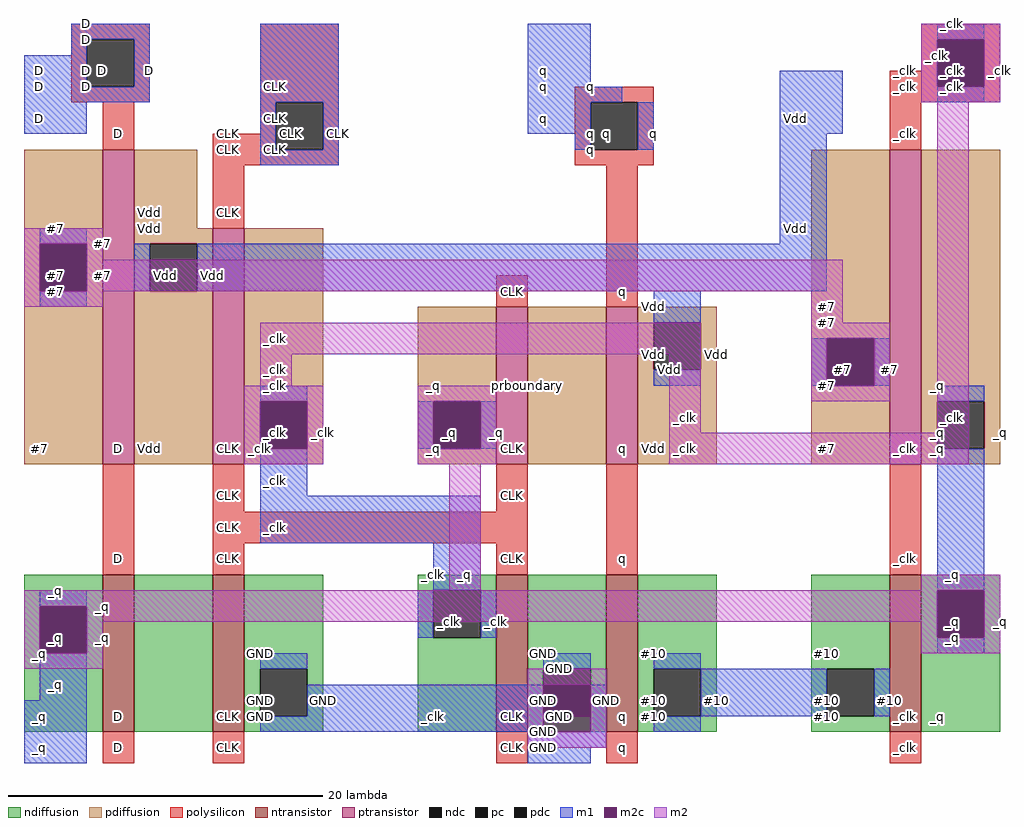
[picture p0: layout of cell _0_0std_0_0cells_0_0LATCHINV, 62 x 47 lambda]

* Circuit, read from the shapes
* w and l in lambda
.subckt _0_0std_0_0cells_0_0LATCHINV _q q CLK D
M1 n1 D _q VSUBS nfet w=10 l=2
M2 GND CLK n1 VSUBS nfet w=10 l=2
M3 GND CLK _clk VSUBS nfet w=10 l=2
M4 #10 q GND VSUBS nfet w=10 l=2
M5 _q _clk #10 VSUBS nfet w=10 l=2
M6 Vdd D #7 NWELL pfet w=20 l=2
M7 _clk CLK Vdd NWELL pfet w=15 l=2
M8 n2 CLK _q NWELL pfet w=10 l=2
M9 Vdd q n2 NWELL pfet w=10 l=2
M10 _q _clk #7 NWELL pfet w=20 l=2
.ends

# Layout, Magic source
magic
tech sky130l
<< ndiffusion >>
rect 8 14 13 16
rect 8 11 9 14
rect 12 11 13 14
rect 8 6 13 11
rect 15 6 20 16
rect 22 10 27 16
rect 22 7 23 10
rect 26 7 27 10
rect 22 6 27 7
rect 33 15 38 16
rect 33 12 34 15
rect 37 12 38 15
rect 33 6 38 12
rect 40 10 45 16
rect 40 7 41 10
rect 44 7 45 10
rect 40 6 45 7
rect 47 10 52 16
rect 47 7 48 10
rect 51 7 52 10
rect 47 6 52 7
rect 58 10 63 16
rect 58 7 59 10
rect 62 7 63 10
rect 58 6 63 7
rect 65 15 70 16
rect 65 12 66 15
rect 69 12 70 15
rect 65 6 70 12
<< ndc >>
rect 9 11 12 14
rect 23 7 26 10
rect 34 12 37 15
rect 41 7 44 10
rect 48 7 51 10
rect 59 7 62 10
rect 66 12 69 15
<< ntransistor >>
rect 13 6 15 16
rect 20 6 22 16
rect 38 6 40 16
rect 45 6 47 16
rect 63 6 65 16
<< pdiffusion >>
rect 8 37 13 43
rect 8 34 9 37
rect 12 34 13 37
rect 8 23 13 34
rect 15 38 19 43
rect 15 37 20 38
rect 15 34 16 37
rect 19 34 20 37
rect 15 23 20 34
rect 22 27 27 38
rect 22 24 23 27
rect 26 24 27 27
rect 22 23 27 24
rect 33 27 38 33
rect 33 24 34 27
rect 37 24 38 27
rect 33 23 38 24
rect 40 23 45 33
rect 47 32 52 33
rect 47 29 48 32
rect 51 29 52 32
rect 47 23 52 29
rect 58 31 63 43
rect 58 28 59 31
rect 62 28 63 31
rect 58 23 63 28
rect 65 27 70 43
rect 65 24 66 27
rect 69 24 70 27
rect 65 23 70 24
<< pdc >>
rect 9 34 12 37
rect 16 34 19 37
rect 23 24 26 27
rect 34 24 37 27
rect 48 29 51 32
rect 59 28 62 31
rect 66 24 69 27
<< ptransistor >>
rect 13 23 15 43
rect 20 23 22 38
rect 38 23 40 33
rect 45 23 47 33
rect 63 23 65 43
<< polysilicon >>
rect 11 50 16 51
rect 11 47 12 50
rect 15 47 16 50
rect 11 46 16 47
rect 23 46 28 51
rect 65 50 70 51
rect 65 48 66 50
rect 63 47 66 48
rect 69 47 70 50
rect 13 43 15 46
rect 23 44 24 46
rect 20 43 24 44
rect 27 43 28 46
rect 20 42 28 43
rect 43 46 48 47
rect 43 43 44 46
rect 47 43 48 46
rect 63 46 70 47
rect 63 43 65 46
rect 43 42 48 43
rect 20 38 22 42
rect 38 33 40 35
rect 45 33 47 42
rect 13 16 15 23
rect 20 20 22 23
rect 38 20 40 23
rect 20 18 40 20
rect 20 16 22 18
rect 38 16 40 18
rect 45 16 47 23
rect 63 16 65 23
rect 13 4 15 6
rect 20 4 22 6
rect 38 4 40 6
rect 45 4 47 6
rect 63 4 65 6
<< pc >>
rect 12 47 15 50
rect 66 47 69 50
rect 24 43 27 46
rect 44 43 47 46
<< m1 >>
rect 11 50 16 51
rect 11 49 12 50
rect 8 47 12 49
rect 15 47 16 50
rect 8 46 16 47
rect 23 46 28 51
rect 8 44 12 46
rect 23 43 24 46
rect 27 43 28 46
rect 40 47 44 51
rect 66 50 69 51
rect 40 46 46 47
rect 40 44 44 46
rect 43 43 44 44
rect 47 43 48 46
rect 56 44 60 48
rect 66 46 69 47
rect 23 42 28 43
rect 9 37 12 38
rect 56 37 59 44
rect 15 34 16 37
rect 19 34 59 37
rect 9 33 12 34
rect 48 32 51 34
rect 48 28 51 29
rect 58 28 59 31
rect 62 28 63 31
rect 23 27 26 28
rect 66 27 69 28
rect 33 24 34 27
rect 37 24 38 27
rect 23 21 26 24
rect 23 18 37 21
rect 34 15 37 18
rect 66 15 69 24
rect 9 14 12 15
rect 33 12 34 15
rect 37 12 38 15
rect 66 11 69 12
rect 9 8 12 11
rect 8 4 12 8
rect 23 10 26 11
rect 41 10 44 11
rect 48 10 51 11
rect 26 7 41 9
rect 23 6 41 7
rect 44 6 45 9
rect 51 7 59 10
rect 62 7 63 10
rect 48 6 51 7
rect 40 5 45 6
rect 40 4 44 5
<< m2c >>
rect 66 47 69 50
rect 9 34 12 37
rect 59 28 62 31
rect 23 24 26 27
rect 34 24 37 27
rect 9 11 12 14
rect 66 12 69 15
rect 41 7 44 9
rect 41 6 44 7
<< m2 >>
rect 65 50 70 51
rect 65 47 66 50
rect 69 47 70 50
rect 65 46 70 47
rect 8 37 13 38
rect 8 34 9 37
rect 12 36 13 37
rect 12 34 60 36
rect 8 33 13 34
rect 58 32 60 34
rect 23 30 51 32
rect 23 28 25 30
rect 22 27 27 28
rect 22 24 23 27
rect 26 24 27 27
rect 22 23 27 24
rect 33 27 38 28
rect 33 24 34 27
rect 37 24 38 27
rect 33 23 38 24
rect 49 25 51 30
rect 58 31 63 32
rect 58 28 59 31
rect 62 28 63 31
rect 58 27 63 28
rect 66 25 68 46
rect 49 23 68 25
rect 35 15 37 23
rect 65 15 70 16
rect 8 14 66 15
rect 8 11 9 14
rect 12 13 66 14
rect 12 11 13 13
rect 65 12 66 13
rect 69 12 70 15
rect 65 11 70 12
rect 8 10 13 11
rect 40 9 45 10
rect 40 6 41 9
rect 44 6 45 9
rect 40 5 45 6
<< labels >>
rlabel space 0 0 80 56 6 prboundary
rlabel pdiffusion 70 25 70 25 3 _q
rlabel ndiffusion 66 7 66 7 3 _q
rlabel ndiffusion 59 8 59 8 3 #10
rlabel pdiffusion 66 24 66 24 3 _q
rlabel pdiffusion 66 25 66 25 3 _q
rlabel pdiffusion 66 28 66 28 3 _q
rlabel polysilicon 66 49 66 49 3 _clk
rlabel ntransistor 64 7 64 7 3 _clk
rlabel polysilicon 64 17 64 17 3 _clk
rlabel ptransistor 64 24 64 24 3 _clk
rlabel polysilicon 64 44 64 44 3 _clk
rlabel polysilicon 64 47 64 47 3 _clk
rlabel polysilicon 64 48 64 48 3 _clk
rlabel ndiffusion 59 7 59 7 3 #10
rlabel ndiffusion 59 11 59 11 3 #10
rlabel pdiffusion 59 24 59 24 3 #7
rlabel pdiffusion 52 30 52 30 3 Vdd
rlabel ndiffusion 48 7 48 7 3 #10
rlabel ndiffusion 48 8 48 8 3 #10
rlabel ndiffusion 48 11 48 11 3 #10
rlabel ndiffusion 45 8 45 8 3 GND
rlabel pdiffusion 48 24 48 24 3 Vdd
rlabel pdiffusion 48 30 48 30 3 Vdd
rlabel pdiffusion 48 33 48 33 3 Vdd
rlabel polysilicon 46 34 46 34 3 q
rlabel polysilicon 64 5 64 5 3 _clk
rlabel ntransistor 46 7 46 7 3 q
rlabel polysilicon 46 17 46 17 3 q
rlabel ptransistor 46 24 46 24 3 q
rlabel polysilicon 44 43 44 43 3 q
rlabel polysilicon 44 47 44 47 3 q
rlabel ndiffusion 41 8 41 8 3 GND
rlabel ndiffusion 41 11 41 11 3 GND
rlabel polysilicon 46 5 46 5 3 q
rlabel ntransistor 39 7 39 7 3 CLK
rlabel polysilicon 39 17 39 17 3 CLK
rlabel polysilicon 39 21 39 21 3 CLK
rlabel ptransistor 39 24 39 24 3 CLK
rlabel polysilicon 39 34 39 34 3 CLK
rlabel ndiffusion 34 7 34 7 3 _clk
rlabel ndiffusion 34 16 34 16 3 _clk
rlabel polysilicon 24 45 24 45 3 CLK
rlabel polysilicon 39 5 39 5 3 CLK
rlabel ndiffusion 23 7 23 7 3 GND
rlabel ndiffusion 23 8 23 8 3 GND
rlabel ndiffusion 23 11 23 11 3 GND
rlabel polysilicon 21 39 21 39 3 CLK
rlabel polysilicon 21 43 21 43 3 CLK
rlabel polysilicon 21 44 21 44 3 CLK
rlabel polysilicon 21 5 21 5 3 CLK
rlabel ntransistor 21 7 21 7 3 CLK
rlabel polysilicon 21 17 21 17 3 CLK
rlabel polysilicon 21 19 21 19 3 CLK
rlabel polysilicon 21 21 21 21 3 CLK
rlabel ptransistor 21 24 21 24 3 CLK
rlabel pdiffusion 16 24 16 24 3 Vdd
rlabel pdiffusion 16 38 16 38 3 Vdd
rlabel pdiffusion 16 39 16 39 3 Vdd
rlabel polysilicon 14 44 14 44 3 D
rlabel polysilicon 14 5 14 5 3 D
rlabel ntransistor 14 7 14 7 3 D
rlabel polysilicon 14 17 14 17 3 D
rlabel ptransistor 14 24 14 24 3 D
rlabel polysilicon 12 47 12 47 3 D
rlabel polysilicon 12 48 12 48 3 D
rlabel ndiffusion 9 7 9 7 3 _q
rlabel pdiffusion 9 24 9 24 3 #7
rlabel m1 67 47 67 47 3 _clk
rlabel m1 67 51 67 51 3 _clk
rlabel m1 67 16 67 16 3 _q
port 1 e
rlabel pdc 67 25 67 25 3 _q
port 1 e
rlabel m1 67 28 67 28 3 _q
port 1 e
rlabel m1 57 38 57 38 3 Vdd
rlabel m1 57 45 57 45 3 Vdd
rlabel m1 49 29 49 29 3 Vdd
rlabel pdc 49 30 49 30 3 Vdd
rlabel m1 49 33 49 33 3 Vdd
rlabel m1 48 44 48 44 3 q
port 2 e
rlabel pc 45 44 45 44 3 q
port 2 e
rlabel m1 44 44 44 44 3 q
port 2 e
rlabel m1 41 45 41 45 3 q
port 2 e
rlabel m1 41 47 41 47 3 q
port 2 e
rlabel m1 41 48 41 48 3 q
port 2 e
rlabel m1 63 8 63 8 3 #10
rlabel ndc 60 8 60 8 3 #10
rlabel m1 67 12 67 12 3 _q
port 1 e
rlabel m1 38 13 38 13 3 _clk
rlabel m1 28 44 28 44 3 CLK
port 3 e
rlabel m1 52 8 52 8 3 #10
rlabel ndc 35 13 35 13 3 _clk
rlabel m1 35 16 35 16 3 _clk
rlabel pc 25 44 25 44 3 CLK
port 3 e
rlabel m1 49 7 49 7 3 #10
rlabel ndc 49 8 49 8 3 #10
rlabel m1 49 11 49 11 3 #10
rlabel m1 34 13 34 13 3 _clk
rlabel m1 24 43 24 43 3 CLK
port 3 e
rlabel m1 24 44 24 44 3 CLK
port 3 e
rlabel m1 24 47 24 47 3 CLK
port 3 e
rlabel m1 24 19 24 19 3 _clk
rlabel m1 24 22 24 22 3 _clk
rlabel m1 24 28 24 28 3 _clk
rlabel m1 20 35 20 35 3 Vdd
rlabel ndc 42 10 42 10 3 GND
rlabel m1 42 11 42 11 3 GND
rlabel pdc 17 35 17 35 3 Vdd
rlabel m1 41 5 41 5 3 GND
rlabel m1 27 8 27 8 3 GND
rlabel m1 24 11 24 11 3 GND
rlabel m1 16 35 16 35 3 Vdd
rlabel m1 24 7 24 7 3 GND
rlabel ndc 24 8 24 8 3 GND
rlabel m1 16 48 16 48 3 D
port 4 e
rlabel m1 12 50 12 50 3 D
port 4 e
rlabel m1 12 51 12 51 3 D
port 4 e
rlabel m1 10 9 10 9 3 _q
port 1 e
rlabel m1 10 15 10 15 3 _q
port 1 e
rlabel m1 10 34 10 34 3 #7
rlabel m1 10 38 10 38 3 #7
rlabel pc 13 48 13 48 3 D
port 4 e
rlabel m1 9 5 9 5 3 _q
port 1 e
rlabel m1 9 45 9 45 3 D
port 4 e
rlabel m1 9 47 9 47 3 D
port 4 e
rlabel m1 9 48 9 48 3 D
port 4 e
rlabel m2 67 26 67 26 3 _clk
rlabel m2 63 29 63 29 3 #7
rlabel m2c 60 29 60 29 3 #7
rlabel m2 59 28 59 28 3 #7
rlabel m2 59 29 59 29 3 #7
rlabel m2 66 16 66 16 3 _q
port 1 e
rlabel m2 50 26 50 26 3 _clk
rlabel m2 70 13 70 13 3 _q
port 1 e
rlabel m2 50 24 50 24 3 _clk
rlabel m2 38 25 38 25 3 _q
port 1 e
rlabel m2c 67 13 67 13 3 _q
port 1 e
rlabel m2c 35 25 35 25 3 _q
port 1 e
rlabel m2 66 12 66 12 3 _q
port 1 e
rlabel m2 66 13 66 13 3 _q
port 1 e
rlabel m2 34 25 34 25 3 _q
port 1 e
rlabel m2 45 7 45 7 3 GND
rlabel m2 59 32 59 32 3 #7
rlabel m2 59 33 59 33 3 #7
rlabel m2c 42 7 42 7 3 GND
rlabel m2c 42 8 42 8 3 GND
rlabel m2 36 16 36 16 3 _q
port 1 e
rlabel m2 34 24 34 24 3 _q
port 1 e
rlabel m2 27 25 27 25 3 _clk
rlabel m2 34 28 34 28 3 _q
port 1 e
rlabel m2 41 6 41 6 3 GND
rlabel m2 41 7 41 7 3 GND
rlabel m2 41 10 41 10 3 GND
rlabel m2c 24 25 24 25 3 _clk
rlabel m2 24 29 24 29 3 _clk
rlabel m2 24 31 24 31 3 _clk
rlabel m2 70 48 70 48 3 _clk
rlabel m2 23 24 23 24 3 _clk
rlabel m2 23 25 23 25 3 _clk
rlabel m2 23 28 23 28 3 _clk
rlabel m2c 67 48 67 48 3 _clk
rlabel m2 13 12 13 12 3 _q
port 1 e
rlabel m2 13 14 13 14 3 _q
port 1 e
rlabel m2 13 35 13 35 3 #7
rlabel m2 13 37 13 37 3 #7
rlabel m2 66 47 66 47 3 _clk
rlabel m2 66 48 66 48 3 _clk
rlabel m2 66 51 66 51 3 _clk
rlabel m2c 10 12 10 12 3 _q
port 1 e
rlabel m2c 10 35 10 35 3 #7
rlabel m2 9 11 9 11 3 _q
port 1 e
rlabel m2 9 12 9 12 3 _q
port 1 e
rlabel m2 9 15 9 15 3 _q
port 1 e
rlabel m2 9 34 9 34 3 #7
rlabel m2 9 35 9 35 3 #7
rlabel m2 9 38 9 38 3 #7
<< end >>
